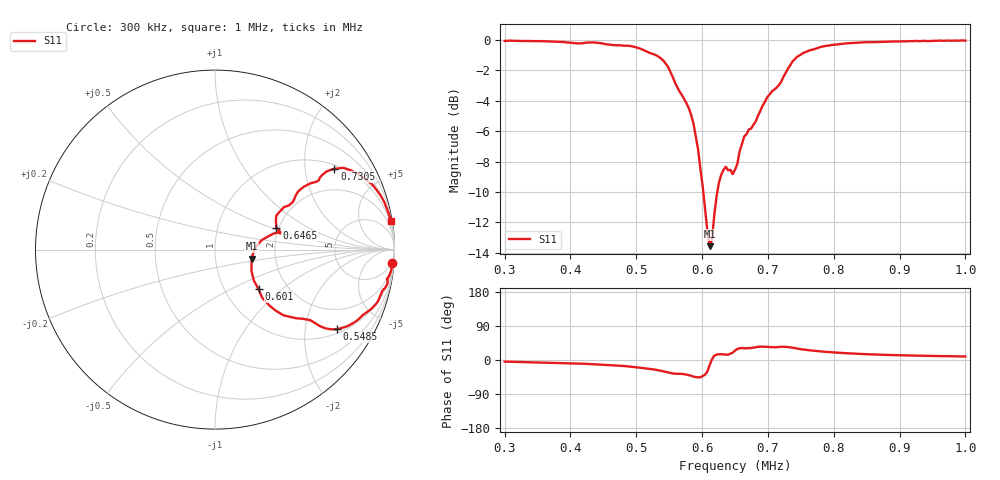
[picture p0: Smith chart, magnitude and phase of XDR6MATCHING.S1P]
!Agilent Technologies,E5071C,MY46100305,A.07.02
!Date: Fri Jan 01 00:14:42 1988
!Data & Calibration Information:
!Freq	S11:SOLT1(ON)
# Hz S MA R 50
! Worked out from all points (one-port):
!   201 points, 300 kHz to 1 MHz, reference 50 ohm
!   lowest |S11| = -13.6 dB at 611.5 kHz (marker M1), VSWR 1.53, Z = 75.1 - j7.89 ohm
!   |S11| at or under -10 dB: 601.8 kHz to 623.2 kHz (21.35 kHz wide, 3.49 % of centre)
!   S11 on the Smith chart (normalised r, x): 300 kHz: 4, -26; 548.5 kHz: 1.13, -2.97; 601 kHz: 1.43, -0.71; 646.5 kHz: 1.94, +0.53; 730.5 kHz: 1.13, +2.86; 1 MHz: 1, +12
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300000  0.9901 -4.3
387500  0.9823 -8.5
475000  0.9589 -15.0
496000  0.9483 -18.5
527500  0.8936 -25.1
548500  0.8125 -33.1
562500  0.6965 -36.2
576500  0.617 -38.6
587000  0.5288 -43.8
601000  0.329 -42.3
611500  0.21 -13.8
615000  0.2209 1.8
618500  0.2651 11.5
629000  0.36 15.3
636000  0.3826 14.4
646500  0.362 19.2
650000  0.3742 24.9
657000  0.4302 30.9
664000  0.4811 30.8
681500  0.5389 33.7
699000  0.6475 34.8
720000  0.7256 34.8
730500  0.8035 34.1
737500  0.8482 32.5
765500  0.9249 25.2
825000  0.9742 17.3
912500  0.9876 12.0
1000000  0.9922 9.3
